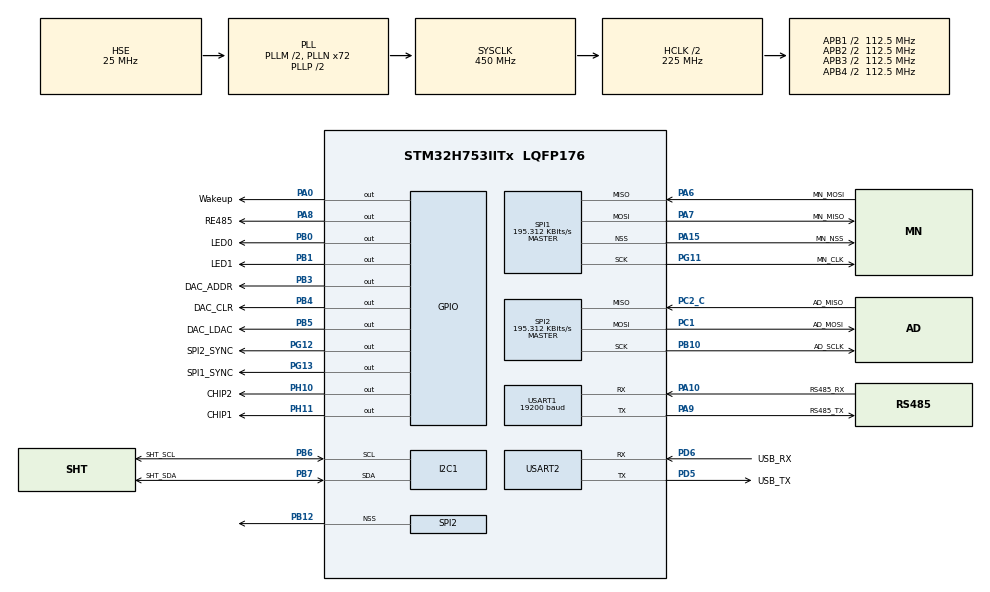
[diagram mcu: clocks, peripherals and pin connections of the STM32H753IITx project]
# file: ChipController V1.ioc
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CORTEX_M7.CPU_ICache=Disabled
CORTEX_M7.MPU_Control=__NULL
CORTEX_M7.default_mode_Activation=1
I2C1.Timing=0x209093DD
Mcu.Family=STM32H7
Mcu.Name=STM32H753IITx
Mcu.Package=LQFP176
NVIC.PriorityGroup=NVIC_PRIORITYGROUP_4
NVIC.TIM3_IRQn=true\:0\:0\:false\:false\:true\:true\:true\:true
NVIC.USART2_IRQn=true\:0\:0\:false\:false\:true\:true\:true\:true
PA0.GPIO_Label=Wakeup
PA0.Signal=GPIO_Output
PA10.GPIO_Label=RS485_RX
PA10.Mode=Asynchronous
PA10.Signal=USART1_RX
PA13\ (JTMS/SWDIO).Mode=Serial_Wire
PA13\ (JTMS/SWDIO).Signal=DEBUG_JTMS-SWDIO
PA14\ (JTCK/SWCLK).Mode=Serial_Wire
PA14\ (JTCK/SWCLK).Signal=DEBUG_JTCK-SWCLK
PA15\ (JTDI).GPIO_Label=MN_NSS
PA15\ (JTDI).Mode=NSS_Signal_Hard_Output
PA15\ (JTDI).Signal=SPI1_NSS
PA6.GPIO_Label=MN_MOSI
PA6.Mode=Full_Duplex_Master
PA6.Signal=SPI1_MISO
PA7.GPIO_Label=MN_MISO
PA7.Mode=Full_Duplex_Master
PA7.Signal=SPI1_MOSI
PA8.GPIO_Label=RE485
PA8.Signal=GPIO_Output
PA9.GPIO_Label=RS485_TX
PA9.Mode=Asynchronous
PA9.Signal=USART1_TX
PB0.GPIO_Label=LED0
PB0.Signal=GPIO_Output
PB1.GPIO_Label=LED1
PB1.Signal=GPIO_Output
PB10.GPIO_Label=AD_SCLK
PB10.Mode=Full_Duplex_Master
PB10.Signal=SPI2_SCK
PB12.Mode=NSS_Signal_Hard_Output
PB12.Signal=SPI2_NSS
PB3\ (JTDO/TRACESWO).GPIO_Label=DAC_ADDR
PB3\ (JTDO/TRACESWO).Signal=GPIO_Output
PB4\ (NJTRST).GPIO_Label=DAC_CLR
PB4\ (NJTRST).Signal=GPIO_Output
PB5.GPIO_Label=DAC_LDAC
PB5.Signal=GPIO_Output
PB6.GPIO_Label=SHT_SCL
PB6.Mode=I2C
PB6.Signal=I2C1_SCL
PB7.GPIO_Label=SHT_SDA
PB7.Mode=I2C
PB7.Signal=I2C1_SDA
PC1.GPIO_Label=AD_MOSI
PC1.Mode=Full_Duplex_Master
PC1.Signal=SPI2_MOSI
PC14-OSC32_IN\ (OSC32_IN).Mode=LSE-External-Oscillator
PC14-OSC32_IN\ (OSC32_IN).Signal=RCC_OSC32_IN
PC15-OSC32_OUT\ (OSC32_OUT).Mode=LSE-External-Oscillator
PC15-OSC32_OUT\ (OSC32_OUT).Signal=RCC_OSC32_OUT
PC2_C.GPIO_Label=AD_MISO
PC2_C.Mode=Full_Duplex_Master
PC2_C.Signal=SPI2_MISO
PD5.GPIO_Label=USB_TX
PD5.Mode=Asynchronous
PD5.Signal=USART2_TX
PD6.GPIO_Label=USB_RX
PD6.Mode=Asynchronous
PD6.Signal=USART2_RX
PG11.GPIO_Label=MN_CLK
PG11.Mode=Full_Duplex_Master
PG11.Signal=SPI1_SCK
PG12.GPIO_Label=SPI2_SYNC
PG12.Signal=GPIO_Output
PG13.GPIO_Label=SPI1_SYNC
PG13.Signal=GPIO_Output
PH0-OSC_IN\ (PH0).Mode=HSE-External-Oscillator
PH0-OSC_IN\ (PH0).Signal=RCC_OSC_IN
PH1-OSC_OUT\ (PH1).Mode=HSE-External-Oscillator
PH1-OSC_OUT\ (PH1).Signal=RCC_OSC_OUT
PH10.GPIO_Label=CHIP2
PH10.Signal=GPIO_Output
PH11.GPIO_Label=CHIP1
PH11.Signal=GPIO_Output
ProjectManager.HeapSize=0x200
ProjectManager.StackSize=0x400
ProjectManager.TargetToolchain=STM32CubeIDE
RCC.ADCFreq_Value=75000000
RCC.APB1Freq_Value=112500000
RCC.APB2Freq_Value=112500000
RCC.APB3Freq_Value=112500000
RCC.APB4Freq_Value=112500000
RCC.CortexFreq_Value=450000000
RCC.D1PPRE=RCC_APB3_DIV2
RCC.D2PPRE1=RCC_APB1_DIV2
RCC.D2PPRE2=RCC_APB2_DIV2
RCC.D3PPRE=RCC_APB4_DIV2
RCC.DIVM1=2
RCC.DIVM2=2
RCC.DIVM3=2
RCC.DIVN1=72
RCC.DIVN2=12
RCC.DIVN3=12
RCC.DIVQ1=18
RCC.DIVQ3=6
RCC.FLatency-AdvancedSettings=FLASH_LATENCY_0
RCC.HCLKFreq_Value=225000000
RCC.HPRE=RCC_HCLK_DIV2
RCC.PLL2FRACN=0
RCC.PLL2_VCO_SEL-AdvancedSettings=RCC_PLL2VCOWIDE
RCC.PLL3FRACN=0
RCC.PLLFRACN=0
RCC.PLLSourceVirtual=RCC_PLLSOURCE_HSE
RCC.SYSCLKFreq_VALUE=450000000
RCC.SYSCLKSource=RCC_SYSCLKSOURCE_PLLCLK
RCC.USBFreq_Value=50000000
SPI1.BaudRatePrescaler=SPI_BAUDRATEPRESCALER_256
SPI1.CLKPhase=SPI_PHASE_2EDGE
SPI1.CLKPolarity=SPI_POLARITY_HIGH
SPI1.CalculateBaudRate=195.312 KBits/s
SPI1.DataSize=SPI_DATASIZE_8BIT
SPI1.Direction=SPI_DIRECTION_2LINES
SPI1.Mode=SPI_MODE_MASTER
SPI1.VirtualNSS=VM_NSSHARD
SPI1.VirtualType=VM_MASTER
SPI2.BaudRatePrescaler=SPI_BAUDRATEPRESCALER_256
SPI2.CLKPhase=SPI_PHASE_2EDGE
SPI2.CLKPolarity=SPI_POLARITY_HIGH
SPI2.CalculateBaudRate=195.312 KBits/s
SPI2.DataSize=SPI_DATASIZE_8BIT
SPI2.Direction=SPI_DIRECTION_2LINES
SPI2.Mode=SPI_MODE_MASTER
SPI2.VirtualNSS=VM_NSSHARD
SPI2.VirtualType=VM_MASTER
TIM1.AutoReloadPreload=TIM_AUTORELOAD_PRELOAD_DISABLE
TIM1.Period=499
TIM1.Prescaler=9
TIM3.Period=4999
TIM3.Prescaler=44999
USART1.BaudRate=19200
USART1.Parity=PARITY_NONE
USART1.VirtualMode-Asynchronous=VM_ASYNC
USART2.VirtualMode-Asynchronous=VM_ASYNC
VP_MEMORYMAP_VS_MEMORYMAP.Mode=CurAppReg
VP_TIM1_VS_ClockSourceINT.Mode=Internal
VP_TIM3_VS_ClockSourceINT.Mode=Internal
board=custom

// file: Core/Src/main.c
/* USER CODE BEGIN Header */
/**
  ******************************************************************************
  * @file           : main.c
  * @brief          : Main program body
  ******************************************************************************
  * @attention
  *
  * Copyright (c) 2026 STMicroelectronics.
  * All rights reserved.
  *
  * This software is licensed under terms that can be found in the LICENSE file
  * in the root directory of this software component.
  * If no LICENSE file comes with this software, it is provided AS-IS.
  *
  ******************************************************************************
  */
/* USER CODE END Header */
#include "main.h"

/* USER CODE BEGIN Includes */
#include "board_uart.h"
#include "board_output.h"
#include "chip_measure.h"
#include "chip_temperature.h"
#include "thermal_control.h"
#include <string.h>

/* USER CODE END Includes */

/* USER CODE BEGIN PD */
#define APP_DEBUG_LINE_SIZE 64u
#define APP_ADC_SAMPLE_DEFAULT_COUNT 10u
#define APP_ADC_SAMPLE_MAX_COUNT 100u

/* Minimum current for a valid resistance (and thus temperature) reading.
 * Mirrors THERMAL_CONTROL_MIN_RESISTANCE_CURRENT / CHIP_MEASURE_MIN_CURRENT_A. */
#define APP_TEMP_MIN_CURRENT_A         0.000001f

/* USER CODE END PD */

I2C_HandleTypeDef hi2c1;

SPI_HandleTypeDef hspi1;
SPI_HandleTypeDef hspi2;

TIM_HandleTypeDef htim1;
TIM_HandleTypeDef htim3;

UART_HandleTypeDef huart1;
UART_HandleTypeDef huart2;

/* USER CODE BEGIN PV */

static ChipMeasure_SyncFilter s_adc_filter;

/* USER CODE END PV */

void SystemClock_Config(void);
static void MX_GPIO_Init(void);
static void MX_USART1_UART_Init(void);
static void MX_USART2_UART_Init(void);
static void MX_SPI1_Init(void);
static void MX_SPI2_Init(void);
static void MX_TIM1_Init(void);
static void MX_I2C1_Init(void);
static void MX_TIM3_Init(void);
/* USER CODE BEGIN PFP */
static void App_ProcessDebugLine(const char *line);
static void App_PrintHelp(void);
static void App_PrintTemperature(void);
static void App_PrintThermalControl(void);
static void App_PrintAdcSamples(uint32_t count);
static void App_PrintAdcFilteredSamples(uint32_t count);

static uint8_t App_ParseFloat(const char *text, float *value);
static uint8_t App_ParseUint32(const char *text, uint32_t *value);
static int32_t App_FloatToMilli(float value);
static int32_t App_FloatToMicro(float value);

/* USER CODE END PFP */

/* USER CODE BEGIN 0 */
static const char *App_ChipMeasureStatusText(ChipMeasure_Status status)
{
  switch (status)
  {
    case CHIP_MEASURE_OK:
      return "OK";
    case CHIP_MEASURE_ERROR:
      return "ERROR";
    case CHIP_MEASURE_TIMEOUT:
      return "TIMEOUT";
    case CHIP_MEASURE_BAD_ID:
      return "BAD_ID";
    case CHIP_MEASURE_INVALID_PARAM:
      return "INVALID_PARAM";
    case CHIP_MEASURE_NO_CURRENT:
      return "NO_CURRENT";
    case CHIP_MEASURE_SATURATED:
      return "SATURATED";
    default:
      return "UNKNOWN";
  }
}

static void App_ProcessDebugLine(const char *line)
{
  if ((line == NULL) || (line[0] == '\0'))
  {
    return;
  }

  if ((strcmp(line, "help") == 0) || (strcmp(line, "?") == 0))
  {
    App_PrintHelp();
  }
  else if (strcmp(line, "id") == 0)
  {
    uint8_t current_adc_id = 0u;
    uint8_t voltage_adc_id = 0u;
    ChipMeasure_Status status = ChipMeasure_ReadAdcIds(&current_adc_id, &voltage_adc_id);

    BoardUart_Printf(BOARD_UART_PORT_DEBUG,
                     "AD7190 IDs: current=0x%02X voltage=0x%02X status=%s (%d)\r\n",
                     current_adc_id,
                     voltage_adc_id,
                     App_ChipMeasureStatusText(status),
                     (int)status);
  }
  else if (strcmp(line, "zero") == 0)
  {
    ThermalControl_Status control_status = ThermalControl_Stop();
    BoardOutput_Status status = BoardOutput_SetZero();
    BoardUart_Printf(BOARD_UART_PORT_DEBUG,
                     "Output zero: %s (%d), control=%s\r\n",
                     BoardOutput_StatusText(status),
                     (int)status,
                     ThermalControl_StatusText(control_status));
    App_ResetAdcFilter();
  }
  else if (strcmp(line, "r42test") == 0)
  {
    BoardOutput_R42SelfTestResult result;
    BoardOutput_Status status;

    (void)ThermalControl_Stop();
    BoardUart_WriteString(BOARD_UART_PORT_DEBUG, "R42 self-test running...\r\n", 100u);
    status = BoardOutput_RunR42SelfTest(&result);

    BoardUart_Printf(BOARD_UART_PORT_DEBUG,
                     "R42 self-test: %s (%d), pass=%u\r\n",
                     BoardOutput_StatusText(status),
                     (int)status,
                     result.passed);
    BoardUart_Printf(BOARD_UART_PORT_DEBUG,
                     "drive=%ld mV, Isense=%ld uV, I=%ld uA\r\n",
                     (long)App_FloatToMilli(result.applied_drive_v),
                     (long)App_FloatToMilli(result.current_sense_v * 1000.0f),
                     (long)App_FloatToMilli(result.current_a * 1000.0f));
    BoardUart_Printf(BOARD_UART_PORT_DEBUG,
                     "Vraw=%ld mV, Vload=%ld mV, R=%ld mOhm\r\n",
                     (long)App_FloatToMilli(result.load_voltage_raw_v),
                     (long)App_FloatToMilli(result.load_voltage_v),
                     (long)App_FloatToMilli(result.resistance_ohm));
    App_ResetAdcFilter();
  }
  else if (strcmp(line, "temp") == 0)
  {
    App_PrintTemperature();
  }
  else if (strcmp(line, "adcs") == 0)
  {
    App_PrintAdcSamples(APP_ADC_SAMPLE_DEFAULT_COUNT);
  }
  else if (strncmp(line, "adcs ", 5u) == 0)
  {
    uint32_t count = 0u;

    if ((App_ParseUint32(&line[5], &count) == 0u) ||
        (count == 0u) ||
        (count > APP_ADC_SAMPLE_MAX_COUNT))
    {
      BoardUart_Printf(BOARD_UART_PORT_DEBUG,
                       "Bad argument. Usage: adcs <1-%lu>\r\n",
                       (unsigned long)APP_ADC_SAMPLE_MAX_COUNT);
      return;
    }

    App_PrintAdcSamples(count);
  }
  else if (strcmp(line, "adcf") == 0)
  {
    App_PrintAdcFilteredSamples(APP_ADC_SAMPLE_DEFAULT_COUNT);
  }
  else if (strncmp(line, "adcf ", 5u) == 0)
  {
    uint32_t count = 0u;

    if ((App_ParseUint32(&line[5], &count) == 0u) ||
        (count == 0u) ||
        (count > APP_ADC_SAMPLE_MAX_COUNT))
    {
      BoardUart_Printf(BOARD_UART_PORT_DEBUG,
                       "Bad argument. Usage: adcf <1-%lu>\r\n",
                       (unsigned long)APP_ADC_SAMPLE_MAX_COUNT);
      return;
    }

    App_PrintAdcFilteredSamples(count);
  }

  else if (strcmp(line, "tc status") == 0)
  {
    App_PrintThermalControl();
  }
  else if (strcmp(line, "tc stop") == 0)
  {
    ThermalControl_Status status = ThermalControl_Stop();

    BoardUart_Printf(BOARD_UART_PORT_DEBUG,
                     "ThermalControl stop: %s (%d)\r\n",
                     ThermalControl_StatusText(status),
                     (int)status);
    App_ResetAdcFilter();
    App_PrintThermalControl();
  }
  else if (strncmp(line, "tc current ", 11u) == 0)
  {
    float target_ma = 0.0f;

    if (App_ParseFloat(&line[11], &target_ma) == 0u)
    {
      BoardUart_WriteString(BOARD_UART_PORT_DEBUG, "Bad argument. Usage: tc current <mA>\r\n", 100u);
      return;
    }

    ThermalControl_Status status = ThermalControl_SetTargetCurrent(target_ma / 1000.0f);
    BoardUart_Printf(BOARD_UART_PORT_DEBUG,
                     "ThermalControl current target: %ld uA, status=%s (%d)\r\n",
                     (long)App_FloatToMilli(target_ma),
                     ThermalControl_StatusText(status),
                     (int)status);
    App_ResetAdcFilter();
  }
  else if (strncmp(line, "tc temp ", 8u) == 0)
  {
    float target_c = 0.0f;

    if (App_ParseFloat(&line[8], &target_c) == 0u)
    {
      BoardUart_WriteString(BOARD_UART_PORT_DEBUG, "Bad argument. Usage: tc temp <degC>\r\n", 100u);
      return;
    }

    ThermalControl_Status status = ThermalControl_SetTargetTemperature(target_c);
    BoardUart_Printf(BOARD_UART_PORT_DEBUG,
                     "ThermalControl temperature target: %ld mC, status=%s (%d)\r\n",
                     (long)App_FloatToMilli(target_c),
                     ThermalControl_StatusText(status),
                     (int)status);
    App_ResetAdcFilter();
  }
  else
  {
    BoardUart_Printf(BOARD_UART_PORT_DEBUG, "Unknown command: %s\r\n", line);
    App_PrintHelp();
  }
}

static void App_PrintHelp(void)
{
  BoardUart_WriteString(BOARD_UART_PORT_DEBUG,
                        "Commands:\r\n"
                        "  help     - show this help\r\n"
                        "  id       - read AD7190 IDs\r\n"
                        "  zero     - force DAC outputs to 0V\r\n"
                        "  r42test  - run safe internal 30-ohm self-test\r\n"
                        "  temp     - read chip temperature (from resistance)\r\n"
                        "  adcs <n> - read synchronized AD7190 samples\r\n"
                        "  adcf <n> - read filtered AD7190 samples\r\n"

                        "  tc status      - show control loop state\r\n"
                        "  tc stop        - stop control and zero output\r\n"
                        "  tc current <mA> - start current loop\r\n"
                        "  tc temp <degC>  - start temperature loop\r\n",
                        100u);
}

static void App_PrintTemperature(void)
{
  ChipMeasure_SyncSample sample;
  ChipMeasure_Status status;
  float current_abs_a;
  float voltage_abs_v;
  float resistance_ohm;
  float temperature_c;
  int32_t temperature_mC;

  status = ChipMeasure_ReadSynchronizedFiltered(CHIP_MEASURE_PATH_EXTERNAL,
                                                &s_adc_filter,
                                                &sample);
  if (status != CHIP_MEASURE_OK)
  {
    BoardUart_Printf(BOARD_UART_PORT_DEBUG,
                     "Temperature: chip_status=%s\r\n",
                     App_ChipMeasureStatusText(status));
    return;
  }

  current_abs_a = (sample.current_a < 0.0f) ? -sample.current_a : sample.current_a;
  voltage_abs_v = (sample.load_voltage_v < 0.0f) ? -sample.load_voltage_v : sample.load_voltage_v;

  if (current_abs_a < APP_TEMP_MIN_CURRENT_A)
  {
    BoardUart_WriteString(BOARD_UART_PORT_DEBUG,
                          "Temperature: chip_status=NO_CURRENT\r\n",
                          100u);
    return;
  }

  if (ChipMeasure_ComputeExternalResistance(voltage_abs_v, current_abs_a, &resistance_ohm) == 0u)
  {
    BoardUart_WriteString(BOARD_UART_PORT_DEBUG,
                          "Temperature: chip_status=NO_CURRENT\r\n",
                          100u);
    return;
  }

  temperature_c = ChipTemperature_FromResistance(resistance_ohm);
  temperature_mC = App_FloatToMilli(temperature_c);

  BoardUart_Printf(BOARD_UART_PORT_DEBUG,
                   "Temperature: chip_mC=%ld\r\n",
                   (long)temperature_mC);
}

static void App_PrintThermalControl(void)
{
  ThermalControl_Snapshot snapshot;

  ThermalControl_GetSnapshot(&snapshot);
  BoardUart_Printf(BOARD_UART_PORT_DEBUG,
                   "TC: mode=%s enabled=%u fault=%u status=%s (%d)\r\n",
                   ThermalControl_ModeText(snapshot.mode),
                   snapshot.enabled,
                   snapshot.faulted,
                   ThermalControl_StatusText(snapshot.status),
                   (int)snapshot.status);
  BoardUart_Printf(BOARD_UART_PORT_DEBUG,
                   "TC target: temp=%ld mC error=%ld mC current=%ld uA integral=%ld uA drive=%ld mV\r\n",
                   (long)App_FloatToMilli(snapshot.target_temperature_c),
                   (long)App_FloatToMilli(snapshot.temperature_error_c),
                   (long)App_FloatToMilli(snapshot.target_current_a * 1000.0f),
                   (long)App_FloatToMilli(snapshot.temperature_integral_a * 1000.0f),
                   (long)App_FloatToMilli(snapshot.drive_voltage_v));
  BoardUart_Printf(BOARD_UART_PORT_DEBUG,
                   "TC measured: temp=%ld mC current=%ld uA voltage=%ld mV power=%ld uW R=%ld mOhm\r\n",
                   (long)App_FloatToMilli(snapshot.measured_temperature_c),
                   (long)App_FloatToMilli(snapshot.measured_current_a * 1000.0f),
                   (long)App_FloatToMilli(snapshot.load_voltage_v),
                   (long)App_FloatToMilli(snapshot.power_w * 1000.0f),
                   (long)App_FloatToMilli(snapshot.resistance_ohm));
}

static void App_PrintAdcSamples(uint32_t count)
{
  uint32_t index;

  BoardUart_Printf(BOARD_UART_PORT_DEBUG, "AD7190 sync samples: count=%lu\r\n", (unsigned long)count);

  for (index = 0u; index < count; index++)
  {
    ChipMeasure_SyncSample sample;
    ChipMeasure_Status status;
    float current_abs_a;
    float voltage_abs_v;
    float resistance_ohm;

    status = ChipMeasure_ReadSynchronized(CHIP_MEASURE_PATH_EXTERNAL, &sample);
    if (status != CHIP_MEASURE_OK)
    {
      BoardUart_Printf(BOARD_UART_PORT_DEBUG,
                       "adc %lu: status=%s (%d)\r\n",
                       (unsigned long)(index + 1u),
                       App_ChipMeasureStatusText(status),
                       (int)status);
      return;
    }

    current_abs_a = (sample.current_a < 0.0f) ? -sample.current_a : sample.current_a;
    voltage_abs_v = (sample.load_voltage_v < 0.0f) ? -sample.load_voltage_v : sample.load_voltage_v;
    (void)ChipMeasure_ComputeExternalResistance(voltage_abs_v, current_abs_a, &resistance_ohm);

    BoardUart_Printf(BOARD_UART_PORT_DEBUG,
                     "adc %lu: I=%ld nA V=%ld uV R=%ld mOhm\r\n",
                     (unsigned long)(index + 1u),
                     (long)App_FloatToMilli(sample.current_a * 1000000.0f),
                     (long)App_FloatToMilli(sample.load_voltage_v * 1000.0f),
                     (long)App_FloatToMilli(resistance_ohm));
  }
}

static void App_PrintAdcFilteredSamples(uint32_t count)
{
  uint32_t index;

  BoardUart_Printf(BOARD_UART_PORT_DEBUG,
                   "AD7190 filtered samples: count=%lu alpha=%ld mpermil\r\n",
                   (unsigned long)count,
                   (long)App_FloatToMilli(CHIP_MEASURE_DISPLAY_FILTER_ALPHA));

  for (index = 0u; index < count; index++)
  {
    ChipMeasure_SyncSample sample;
    ChipMeasure_Status status;
    float current_abs_a;
    float voltage_abs_v;
    float resistance_ohm;

    status = ChipMeasure_ReadSynchronizedFiltered(CHIP_MEASURE_PATH_EXTERNAL,
                                                  &s_adc_filter,
                                                  &sample);
    if (status != CHIP_MEASURE_OK)
    {
      BoardUart_Printf(BOARD_UART_PORT_DEBUG,
                       "adcf: sample=%lu status=%s (%d)\r\n",
                       (unsigned long)(index + 1u),
                       App_ChipMeasureStatusText(status),
                       (int)status);
      return;
    }

    current_abs_a = (sample.current_a < 0.0f) ? -sample.current_a : sample.current_a;
    voltage_abs_v = (sample.load_voltage_v < 0.0f) ? -sample.load_voltage_v : sample.load_voltage_v;
    (void)ChipMeasure_ComputeExternalResistance(voltage_abs_v, current_abs_a, &resistance_ohm);

    BoardUart_Printf(BOARD_UART_PORT_DEBUG,
                     "adcf %lu: I=%ld nA V=%ld uV R=%ld uOhm status current=0x%02X voltage=0x%02X\r\n",
                     (unsigned long)(index + 1u),
                     (long)App_FloatToMilli(sample.current_a * 1000000.0f),
                     (long)App_FloatToMilli(sample.load_voltage_v * 1000.0f),
                     (long)App_FloatToMicro(resistance_ohm),
                     sample.current_adc_status,
                     sample.voltage_adc_status);
  }
}

static uint8_t App_ParseFloat(const char *text, float *value)
{
  float result = 0.0f;
  float scale = 0.1f;
  float sign = 1.0f;
  uint8_t saw_digit = 0u;

  if ((text == NULL) || (value == NULL))
  {
    return 0u;
  }

  while (*text == ' ')
  {
    text++;
  }

  if (*text == '-')
  {
    sign = -1.0f;
    text++;
  }
  else if (*text == '+')
  {
    text++;
  }

  while ((*text >= '0') && (*text <= '9'))
  {
    saw_digit = 1u;
    result = (result * 10.0f) + (float)(*text - '0');
    text++;
  }

  if (*text == '.')
  {
    text++;
    while ((*text >= '0') && (*text <= '9'))
    {
      saw_digit = 1u;
      result += (float)(*text - '0') * scale;
      scale *= 0.1f;
      text++;
    }
  }

  while (*text == ' ')
  {
    text++;
  }

  if ((*text != '\0') || (saw_digit == 0u))
  {
    return 0u;
  }

  *value = result * sign;
  return 1u;
}

static uint8_t App_ParseUint32(const char *text, uint32_t *value)
{
  uint32_t result = 0u;
  uint8_t saw_digit = 0u;

  if ((text == NULL) || (value == NULL))
  {
    return 0u;
  }

  while (*text == ' ')
  {
    text++;
  }

  while ((*text >= '0') && (*text <= '9'))
  {
    saw_digit = 1u;
    result = (result * 10u) + (uint32_t)(*text - '0');
    text++;
  }

  while (*text == ' ')
  {
    text++;
  }

  if ((*text != '\0') || (saw_digit == 0u))
  {
    return 0u;
  }

  *value = result;
  return 1u;
}

static int32_t App_FloatToMilli(float value)
{
  if (value >= 0.0f)
  {
    return (int32_t)((value * 1000.0f) + 0.5f);
  }

  return (int32_t)((value * 1000.0f) - 0.5f);
}

static int32_t App_FloatToMicro(float value)
{
  if (value >= 0.0f)
  {
    return (int32_t)((value * 1000000.0f) + 0.5f);
  }

  return (int32_t)((value * 1000000.0f) - 0.5f);
}

/* USER CODE END 0 */

int main(void)
{

  /* MCU Configuration--------------------------------------------------------*/

  /* Reset of all peripherals, Initializes the Flash interface and the Systick. */
  HAL_Init();

  /* Configure the system clock */
  SystemClock_Config();

  /* Initialize all configured peripherals */
  MX_GPIO_Init();
  MX_USART1_UART_Init();
  MX_USART2_UART_Init();
  MX_SPI1_Init();
  MX_SPI2_Init();
  MX_TIM1_Init();
  MX_I2C1_Init();
  MX_TIM3_Init();
  /* USER CODE BEGIN 2 */
  BoardUart_Init(&huart2, &huart1);
  BoardUart_WriteString(BOARD_UART_PORT_DEBUG, "\r\nChipController boot\r\n", 100u);

  BoardOutput_Status output_status = BoardOutput_Init();
  BoardUart_Printf(BOARD_UART_PORT_DEBUG,
                   "BoardOutput_Init: %s (%d)\r\n",
                   BoardOutput_StatusText(output_status),
                   (int)output_status);

  ChipMeasure_Status measure_status = ChipMeasure_Init();
  BoardUart_Printf(BOARD_UART_PORT_DEBUG,
                   "ChipMeasure_Init: %s (%d)\r\n",
                   App_ChipMeasureStatusText(measure_status),
                   (int)measure_status);

  if (measure_status == CHIP_MEASURE_OK)
  {
    uint8_t current_adc_id = 0u;
    uint8_t voltage_adc_id = 0u;

    measure_status = ChipMeasure_ReadAdcIds(&current_adc_id, &voltage_adc_id);
    BoardUart_Printf(BOARD_UART_PORT_DEBUG,
                     "AD7190 IDs: current=0x%02X voltage=0x%02X status=%s (%d)\r\n",
                     current_adc_id,
                     voltage_adc_id,
                     App_ChipMeasureStatusText(measure_status),
                     (int)measure_status);
  }

  ThermalControl_Status control_status = ThermalControl_Init();
  BoardUart_Printf(BOARD_UART_PORT_DEBUG,
                   "ThermalControl_Init: %s (%d)\r\n",
                   ThermalControl_StatusText(control_status),
                   (int)control_status);

  App_PrintHelp();

  /* USER CODE END 2 */

  /* Infinite loop */
  while (1)
  {

    /* USER CODE BEGIN 3 */
    static char debug_line[APP_DEBUG_LINE_SIZE];
    static uint8_t debug_line_len = 0u;
    uint8_t byte = 0u;

    if (BoardUart_Read(BOARD_UART_PORT_DEBUG, &byte, 1u, 0u) == BOARD_UART_OK)
    {
      if ((byte == '\r') || (byte == '\n'))
      {
        if (debug_line_len > 0u)
        {
          debug_line[debug_line_len] = '\0';
          BoardUart_WriteString(BOARD_UART_PORT_DEBUG, "\r\n", 100u);
          App_ProcessDebugLine(debug_line);
          debug_line_len = 0u;
        }
      }
      else if ((byte == '\b') || (byte == 0x7Fu))
      {
        if (debug_line_len > 0u)
        {
          debug_line_len--;
          BoardUart_WriteString(BOARD_UART_PORT_DEBUG, "\b \b", 100u);
        }
      }
      else if (debug_line_len < (APP_DEBUG_LINE_SIZE - 1u))
      {
        debug_line[debug_line_len] = (char)byte;
        debug_line_len++;
        BoardUart_Write(BOARD_UART_PORT_DEBUG, &byte, 1u, 100u);
      }
    }

    (void)ThermalControl_Service(HAL_GetTick());
  }
  /* USER CODE END 3 */
}

void SystemClock_Config(void)
{
  RCC_OscInitTypeDef RCC_OscInitStruct = {0};
  RCC_ClkInitTypeDef RCC_ClkInitStruct = {0};

  /** Supply configuration update enable
  */
  HAL_PWREx_ConfigSupply(PWR_LDO_SUPPLY);

  /** Configure the main internal regulator output voltage
  */
  __HAL_PWR_VOLTAGESCALING_CONFIG(PWR_REGULATOR_VOLTAGE_SCALE0);

  while(!__HAL_PWR_GET_FLAG(PWR_FLAG_VOSRDY)) {}

  /** Initializes the RCC Oscillators according to the specified parameters
  * in the RCC_OscInitTypeDef structure.
  */
  RCC_OscInitStruct.OscillatorType = RCC_OSCILLATORTYPE_HSE;
  RCC_OscInitStruct.HSEState = RCC_HSE_ON;
  RCC_OscInitStruct.PLL.PLLState = RCC_PLL_ON;
  RCC_OscInitStruct.PLL.PLLSource = RCC_PLLSOURCE_HSE;
  RCC_OscInitStruct.PLL.PLLM = 2;
  RCC_OscInitStruct.PLL.PLLN = 72;
  RCC_OscInitStruct.PLL.PLLP = 2;
  RCC_OscInitStruct.PLL.PLLQ = 18;
  RCC_OscInitStruct.PLL.PLLR = 2;
  RCC_OscInitStruct.PLL.PLLRGE = RCC_PLL1VCIRANGE_3;
  RCC_OscInitStruct.PLL.PLLVCOSEL = RCC_PLL1VCOWIDE;
  RCC_OscInitStruct.PLL.PLLFRACN = 0;
  if (HAL_RCC_OscConfig(&RCC_OscInitStruct) != HAL_OK)
  {
    Error_Handler();
  }

  /** Initializes the CPU, AHB and APB buses clocks
  */
  RCC_ClkInitStruct.ClockType = RCC_CLOCKTYPE_HCLK|RCC_CLOCKTYPE_SYSCLK
                              |RCC_CLOCKTYPE_PCLK1|RCC_CLOCKTYPE_PCLK2
                              |RCC_CLOCKTYPE_D3PCLK1|RCC_CLOCKTYPE_D1PCLK1;
  RCC_ClkInitStruct.SYSCLKSource = RCC_SYSCLKSOURCE_PLLCLK;
  RCC_ClkInitStruct.SYSCLKDivider = RCC_SYSCLK_DIV1;
  RCC_ClkInitStruct.AHBCLKDivider = RCC_HCLK_DIV2;
  RCC_ClkInitStruct.APB3CLKDivider = RCC_APB3_DIV2;
  RCC_ClkInitStruct.APB1CLKDivider = RCC_APB1_DIV2;
  RCC_ClkInitStruct.APB2CLKDivider = RCC_APB2_DIV2;
  RCC_ClkInitStruct.APB4CLKDivider = RCC_APB4_DIV2;

  if (HAL_RCC_ClockConfig(&RCC_ClkInitStruct, FLASH_LATENCY_3) != HAL_OK)
  {
    Error_Handler();
  }
}

static void MX_I2C1_Init(void)
{

  hi2c1.Instance = I2C1;
  hi2c1.Init.Timing = 0x209093DD;
  hi2c1.Init.OwnAddress1 = 0;
  hi2c1.Init.AddressingMode = I2C_ADDRESSINGMODE_7BIT;
  hi2c1.Init.DualAddressMode = I2C_DUALADDRESS_DISABLE;
  hi2c1.Init.OwnAddress2 = 0;
  hi2c1.Init.OwnAddress2Masks = I2C_OA2_NOMASK;
  hi2c1.Init.GeneralCallMode = I2C_GENERALCALL_DISABLE;
  hi2c1.Init.NoStretchMode = I2C_NOSTRETCH_DISABLE;
  if (HAL_I2C_Init(&hi2c1) != HAL_OK)
  {
    Error_Handler();
  }

  /** Configure Analogue filter
  */
  if (HAL_I2CEx_ConfigAnalogFilter(&hi2c1, I2C_ANALOGFILTER_ENABLE) != HAL_OK)
  {
    Error_Handler();
  }

  /** Configure Digital filter
  */
  if (HAL_I2CEx_ConfigDigitalFilter(&hi2c1, 0) != HAL_OK)
  {
    Error_Handler();
  }

}

static void MX_SPI1_Init(void)
{

  /* SPI1 parameter configuration*/
  hspi1.Instance = SPI1;
  hspi1.Init.Mode = SPI_MODE_MASTER;
  hspi1.Init.Direction = SPI_DIRECTION_2LINES;
  hspi1.Init.DataSize = SPI_DATASIZE_8BIT;
  hspi1.Init.CLKPolarity = SPI_POLARITY_HIGH;
  hspi1.Init.CLKPhase = SPI_PHASE_2EDGE;
  hspi1.Init.NSS = SPI_NSS_HARD_OUTPUT;
  hspi1.Init.BaudRatePrescaler = SPI_BAUDRATEPRESCALER_256;
  hspi1.Init.FirstBit = SPI_FIRSTBIT_MSB;
  hspi1.Init.TIMode = SPI_TIMODE_DISABLE;
  hspi1.Init.CRCCalculation = SPI_CRCCALCULATION_DISABLE;
  hspi1.Init.CRCPolynomial = 0x0;
  hspi1.Init.NSSPMode = SPI_NSS_PULSE_DISABLE;
  hspi1.Init.NSSPolarity = SPI_NSS_POLARITY_LOW;
  hspi1.Init.FifoThreshold = SPI_FIFO_THRESHOLD_01DATA;
  hspi1.Init.TxCRCInitializationPattern = SPI_CRC_INITIALIZATION_ALL_ZERO_PATTERN;
  hspi1.Init.RxCRCInitializationPattern = SPI_CRC_INITIALIZATION_ALL_ZERO_PATTERN;
  hspi1.Init.MasterSSIdleness = SPI_MASTER_SS_IDLENESS_00CYCLE;
  hspi1.Init.MasterInterDataIdleness = SPI_MASTER_INTERDATA_IDLENESS_00CYCLE;
  hspi1.Init.MasterReceiverAutoSusp = SPI_MASTER_RX_AUTOSUSP_DISABLE;
  hspi1.Init.MasterKeepIOState = SPI_MASTER_KEEP_IO_STATE_DISABLE;
  hspi1.Init.IOSwap = SPI_IO_SWAP_DISABLE;
  if (HAL_SPI_Init(&hspi1) != HAL_OK)
  {
    Error_Handler();
  }

}

static void MX_SPI2_Init(void)
{

  /* SPI2 parameter configuration*/
  hspi2.Instance = SPI2;
  hspi2.Init.Mode = SPI_MODE_MASTER;
  hspi2.Init.Direction = SPI_DIRECTION_2LINES;
  hspi2.Init.DataSize = SPI_DATASIZE_8BIT;
  hspi2.Init.CLKPolarity = SPI_POLARITY_HIGH;
  hspi2.Init.CLKPhase = SPI_PHASE_2EDGE;
  hspi2.Init.NSS = SPI_NSS_HARD_OUTPUT;
  hspi2.Init.BaudRatePrescaler = SPI_BAUDRATEPRESCALER_256;
  hspi2.Init.FirstBit = SPI_FIRSTBIT_MSB;
  hspi2.Init.TIMode = SPI_TIMODE_DISABLE;
  hspi2.Init.CRCCalculation = SPI_CRCCALCULATION_DISABLE;
  hspi2.Init.CRCPolynomial = 0x0;
  hspi2.Init.NSSPMode = SPI_NSS_PULSE_DISABLE;
  hspi2.Init.NSSPolarity = SPI_NSS_POLARITY_LOW;
  hspi2.Init.FifoThreshold = SPI_FIFO_THRESHOLD_01DATA;
  hspi2.Init.TxCRCInitializationPattern = SPI_CRC_INITIALIZATION_ALL_ZERO_PATTERN;
  hspi2.Init.RxCRCInitializationPattern = SPI_CRC_INITIALIZATION_ALL_ZERO_PATTERN;
  hspi2.Init.MasterSSIdleness = SPI_MASTER_SS_IDLENESS_00CYCLE;
  hspi2.Init.MasterInterDataIdleness = SPI_MASTER_INTERDATA_IDLENESS_00CYCLE;
  hspi2.Init.MasterReceiverAutoSusp = SPI_MASTER_RX_AUTOSUSP_DISABLE;
  hspi2.Init.MasterKeepIOState = SPI_MASTER_KEEP_IO_STATE_DISABLE;
  hspi2.Init.IOSwap = SPI_IO_SWAP_DISABLE;
  if (HAL_SPI_Init(&hspi2) != HAL_OK)
  {
    Error_Handler();
  }

}

static void MX_TIM1_Init(void)
{

  TIM_ClockConfigTypeDef sClockSourceConfig = {0};
  TIM_MasterConfigTypeDef sMasterConfig = {0};

  htim1.Instance = TIM1;
  htim1.Init.Prescaler = 9;
  htim1.Init.CounterMode = TIM_COUNTERMODE_UP;
  htim1.Init.Period = 499;
  htim1.Init.ClockDivision = TIM_CLOCKDIVISION_DIV1;
  htim1.Init.RepetitionCounter = 0;
  htim1.Init.AutoReloadPreload = TIM_AUTORELOAD_PRELOAD_DISABLE;
  if (HAL_TIM_Base_Init(&htim1) != HAL_OK)
  {
    Error_Handler();
  }
  sClockSourceConfig.ClockSource = TIM_CLOCKSOURCE_INTERNAL;
  if (HAL_TIM_ConfigClockSource(&htim1, &sClockSourceConfig) != HAL_OK)
  {
    Error_Handler();
  }
  sMasterConfig.MasterOutputTrigger = TIM_TRGO_RESET;
  sMasterConfig.MasterOutputTrigger2 = TIM_TRGO2_RESET;
  sMasterConfig.MasterSlaveMode = TIM_MASTERSLAVEMODE_DISABLE;
  if (HAL_TIMEx_MasterConfigSynchronization(&htim1, &sMasterConfig) != HAL_OK)
  {
    Error_Handler();
  }

}

static void MX_TIM3_Init(void)
{

  TIM_ClockConfigTypeDef sClockSourceConfig = {0};
  TIM_MasterConfigTypeDef sMasterConfig = {0};

  htim3.Instance = TIM3;
  htim3.Init.Prescaler = 44999;
  htim3.Init.CounterMode = TIM_COUNTERMODE_UP;
  htim3.Init.Period = 4999;
  htim3.Init.ClockDivision = TIM_CLOCKDIVISION_DIV1;
  htim3.Init.AutoReloadPreload = TIM_AUTORELOAD_PRELOAD_DISABLE;
  if (HAL_TIM_Base_Init(&htim3) != HAL_OK)
  {
    Error_Handler();
  }
  sClockSourceConfig.ClockSource = TIM_CLOCKSOURCE_INTERNAL;
  if (HAL_TIM_ConfigClockSource(&htim3, &sClockSourceConfig) != HAL_OK)
  {
    Error_Handler();
  }
  sMasterConfig.MasterOutputTrigger = TIM_TRGO_RESET;
  sMasterConfig.MasterSlaveMode = TIM_MASTERSLAVEMODE_DISABLE;
  if (HAL_TIMEx_MasterConfigSynchronization(&htim3, &sMasterConfig) != HAL_OK)
  {
    Error_Handler();
  }

}

static void MX_USART1_UART_Init(void)
{

  huart1.Instance = USART1;
  huart1.Init.BaudRate = 19200;
  huart1.Init.WordLength = UART_WORDLENGTH_8B;
  huart1.Init.StopBits = UART_STOPBITS_1;
  huart1.Init.Parity = UART_PARITY_NONE;
  huart1.Init.Mode = UART_MODE_TX_RX;
  huart1.Init.HwFlowCtl = UART_HWCONTROL_NONE;
  huart1.Init.OverSampling = UART_OVERSAMPLING_16;
  huart1.Init.OneBitSampling = UART_ONE_BIT_SAMPLE_DISABLE;
  huart1.Init.ClockPrescaler = UART_PRESCALER_DIV1;
  huart1.AdvancedInit.AdvFeatureInit = UART_ADVFEATURE_NO_INIT;
  if (HAL_UART_Init(&huart1) != HAL_OK)
  {
    Error_Handler();
  }
  if (HAL_UARTEx_SetTxFifoThreshold(&huart1, UART_TXFIFO_THRESHOLD_1_8) != HAL_OK)
  {
    Error_Handler();
  }
  if (HAL_UARTEx_SetRxFifoThreshold(&huart1, UART_RXFIFO_THRESHOLD_1_8) != HAL_OK)
  {
    Error_Handler();
  }
  if (HAL_UARTEx_DisableFifoMode(&huart1) != HAL_OK)
  {
    Error_Handler();
  }

}

static void MX_USART2_UART_Init(void)
{

  huart2.Instance = USART2;
  huart2.Init.BaudRate = 115200;
  huart2.Init.WordLength = UART_WORDLENGTH_8B;
  huart2.Init.StopBits = UART_STOPBITS_1;
  huart2.Init.Parity = UART_PARITY_NONE;
  huart2.Init.Mode = UART_MODE_TX_RX;
  huart2.Init.HwFlowCtl = UART_HWCONTROL_NONE;
  huart2.Init.OverSampling = UART_OVERSAMPLING_16;
  huart2.Init.OneBitSampling = UART_ONE_BIT_SAMPLE_DISABLE;
  huart2.Init.ClockPrescaler = UART_PRESCALER_DIV1;
  huart2.AdvancedInit.AdvFeatureInit = UART_ADVFEATURE_NO_INIT;
  if (HAL_UART_Init(&huart2) != HAL_OK)
  {
    Error_Handler();
  }
  if (HAL_UARTEx_SetTxFifoThreshold(&huart2, UART_TXFIFO_THRESHOLD_1_8) != HAL_OK)
  {
    Error_Handler();
  }
  if (HAL_UARTEx_SetRxFifoThreshold(&huart2, UART_RXFIFO_THRESHOLD_1_8) != HAL_OK)
  {
    Error_Handler();
  }
  if (HAL_UARTEx_DisableFifoMode(&huart2) != HAL_OK)
  {
    Error_Handler();
  }

}

static void MX_GPIO_Init(void)
{
  GPIO_InitTypeDef GPIO_InitStruct = {0};

  /* GPIO Ports Clock Enable */
  __HAL_RCC_GPIOE_CLK_ENABLE();
  __HAL_RCC_GPIOI_CLK_ENABLE();
  __HAL_RCC_GPIOC_CLK_ENABLE();
  __HAL_RCC_GPIOF_CLK_ENABLE();
  __HAL_RCC_GPIOH_CLK_ENABLE();
  __HAL_RCC_GPIOA_CLK_ENABLE();
  __HAL_RCC_GPIOB_CLK_ENABLE();
  __HAL_RCC_GPIOG_CLK_ENABLE();
  __HAL_RCC_GPIOD_CLK_ENABLE();

  /*Configure GPIO pin Output Level */
  HAL_GPIO_WritePin(GPIOA, Wakeup_Pin|RE485_Pin, GPIO_PIN_RESET);

  /*Configure GPIO pin Output Level */
  HAL_GPIO_WritePin(GPIOB, LED0_Pin|LED1_Pin|DAC_ADDR_Pin|DAC_CLR_Pin
                          |DAC_LDAC_Pin, GPIO_PIN_RESET);

  /*Configure GPIO pin Output Level */
  HAL_GPIO_WritePin(GPIOH, CHIP2_Pin|CHIP1_Pin, GPIO_PIN_RESET);

  /*Configure GPIO pin Output Level */
  HAL_GPIO_WritePin(GPIOG, SPI2_SYNC_Pin|SPI1_SYNC_Pin, GPIO_PIN_RESET);

  /*Configure GPIO pins : PE2 PE3 PE4 PE5
                           PE6 PE7 PE8 PE9
                           PE10 PE11 PE12 PE13
                           PE14 PE15 PE0 PE1 */
  GPIO_InitStruct.Pin = GPIO_PIN_2|GPIO_PIN_3|GPIO_PIN_4|GPIO_PIN_5
                          |GPIO_PIN_6|GPIO_PIN_7|GPIO_PIN_8|GPIO_PIN_9
                          |GPIO_PIN_10|GPIO_PIN_11|GPIO_PIN_12|GPIO_PIN_13
                          |GPIO_PIN_14|GPIO_PIN_15|GPIO_PIN_0|GPIO_PIN_1;
  GPIO_InitStruct.Mode = GPIO_MODE_ANALOG;
  GPIO_InitStruct.Pull = GPIO_NOPULL;
  HAL_GPIO_Init(GPIOE, &GPIO_InitStruct);

  /*Configure GPIO pins : PI8 PI9 PI10 PI11
                           PI0 PI1 PI2 PI3
                           PI4 PI5 PI6 PI7 */
  GPIO_InitStruct.Pin = GPIO_PIN_8|GPIO_PIN_9|GPIO_PIN_10|GPIO_PIN_11
                          |GPIO_PIN_0|GPIO_PIN_1|GPIO_PIN_2|GPIO_PIN_3
                          |GPIO_PIN_4|GPIO_PIN_5|GPIO_PIN_6|GPIO_PIN_7;
  GPIO_InitStruct.Mode = GPIO_MODE_ANALOG;
  GPIO_InitStruct.Pull = GPIO_NOPULL;
  HAL_GPIO_Init(GPIOI, &GPIO_InitStruct);

  /*Configure GPIO pins : PC13 PC0 PC3 PC4
                           PC5 PC6 PC7 PC8
                           PC9 PC10 PC11 PC12 */
  GPIO_InitStruct.Pin = GPIO_PIN_13|GPIO_PIN_0|GPIO_PIN_3|GPIO_PIN_4
                          |GPIO_PIN_5|GPIO_PIN_6|GPIO_PIN_7|GPIO_PIN_8
                          |GPIO_PIN_9|GPIO_PIN_10|GPIO_PIN_11|GPIO_PIN_12;
  GPIO_InitStruct.Mode = GPIO_MODE_ANALOG;
  GPIO_InitStruct.Pull = GPIO_NOPULL;
  HAL_GPIO_Init(GPIOC, &GPIO_InitStruct);

  /*Configure GPIO pins : PF0 PF1 PF2 PF3
                           PF4 PF5 PF6 PF7
                           PF8 PF9 PF10 PF11
                           PF12 PF13 PF14 PF15 */
  GPIO_InitStruct.Pin = GPIO_PIN_0|GPIO_PIN_1|GPIO_PIN_2|GPIO_PIN_3
                          |GPIO_PIN_4|GPIO_PIN_5|GPIO_PIN_6|GPIO_PIN_7
                          |GPIO_PIN_8|GPIO_PIN_9|GPIO_PIN_10|GPIO_PIN_11
                          |GPIO_PIN_12|GPIO_PIN_13|GPIO_PIN_14|GPIO_PIN_15;
  GPIO_InitStruct.Mode = GPIO_MODE_ANALOG;
  GPIO_InitStruct.Pull = GPIO_NOPULL;
  HAL_GPIO_Init(GPIOF, &GPIO_InitStruct);

  /*Configure GPIO pins : Wakeup_Pin RE485_Pin */
  GPIO_InitStruct.Pin = Wakeup_Pin|RE485_Pin;
  GPIO_InitStruct.Mode = GPIO_MODE_OUTPUT_PP;
  GPIO_InitStruct.Pull = GPIO_NOPULL;
  GPIO_InitStruct.Speed = GPIO_SPEED_FREQ_LOW;
  HAL_GPIO_Init(GPIOA, &GPIO_InitStruct);

  /*Configure GPIO pins : PA1 PA2 PA3 PA4
                           PA5 PA11 PA12 */
  GPIO_InitStruct.Pin = GPIO_PIN_1|GPIO_PIN_2|GPIO_PIN_3|GPIO_PIN_4
                          |GPIO_PIN_5|GPIO_PIN_11|GPIO_PIN_12;
  GPIO_InitStruct.Mode = GPIO_MODE_ANALOG;
  GPIO_InitStruct.Pull = GPIO_NOPULL;
  HAL_GPIO_Init(GPIOA, &GPIO_InitStruct);

  /*Configure GPIO pins : PH2 PH3 PH4 PH5
                           PH6 PH7 PH8 PH9
                           PH12 PH13 PH14 PH15 */
  GPIO_InitStruct.Pin = GPIO_PIN_2|GPIO_PIN_3|GPIO_PIN_4|GPIO_PIN_5
                          |GPIO_PIN_6|GPIO_PIN_7|GPIO_PIN_8|GPIO_PIN_9
                          |GPIO_PIN_12|GPIO_PIN_13|GPIO_PIN_14|GPIO_PIN_15;
  GPIO_InitStruct.Mode = GPIO_MODE_ANALOG;
  GPIO_InitStruct.Pull = GPIO_NOPULL;
  HAL_GPIO_Init(GPIOH, &GPIO_InitStruct);

  /*Configure GPIO pins : LED0_Pin LED1_Pin DAC_ADDR_Pin DAC_CLR_Pin
                           DAC_LDAC_Pin */
  GPIO_InitStruct.Pin = LED0_Pin|LED1_Pin|DAC_ADDR_Pin|DAC_CLR_Pin
                          |DAC_LDAC_Pin;
  GPIO_InitStruct.Mode = GPIO_MODE_OUTPUT_PP;
  GPIO_InitStruct.Pull = GPIO_NOPULL;
  GPIO_InitStruct.Speed = GPIO_SPEED_FREQ_LOW;
  HAL_GPIO_Init(GPIOB, &GPIO_InitStruct);

  /*Configure GPIO pins : PB2 PB11 PB13 PB14
                           PB15 PB8 PB9 */
  GPIO_InitStruct.Pin = GPIO_PIN_2|GPIO_PIN_11|GPIO_PIN_13|GPIO_PIN_14
                          |GPIO_PIN_15|GPIO_PIN_8|GPIO_PIN_9;
  GPIO_InitStruct.Mode = GPIO_MODE_ANALOG;
  GPIO_InitStruct.Pull = GPIO_NOPULL;
  HAL_GPIO_Init(GPIOB, &GPIO_InitStruct);

  /*Configure GPIO pins : PG0 PG1 PG2 PG3
                           PG4 PG5 PG6 PG7
                           PG8 PG9 PG10 PG14
                           PG15 */
  GPIO_InitStruct.Pin = GPIO_PIN_0|GPIO_PIN_1|GPIO_PIN_2|GPIO_PIN_3
                          |GPIO_PIN_4|GPIO_PIN_5|GPIO_PIN_6|GPIO_PIN_7
                          |GPIO_PIN_8|GPIO_PIN_9|GPIO_PIN_10|GPIO_PIN_14
                          |GPIO_PIN_15;
  GPIO_InitStruct.Mode = GPIO_MODE_ANALOG;
  GPIO_InitStruct.Pull = GPIO_NOPULL;
  HAL_GPIO_Init(GPIOG, &GPIO_InitStruct);

  /*Configure GPIO pins : CHIP2_Pin CHIP1_Pin */
  GPIO_InitStruct.Pin = CHIP2_Pin|CHIP1_Pin;
  GPIO_InitStruct.Mode = GPIO_MODE_OUTPUT_PP;
  GPIO_InitStruct.Pull = GPIO_NOPULL;
  GPIO_InitStruct.Speed = GPIO_SPEED_FREQ_LOW;
  HAL_GPIO_Init(GPIOH, &GPIO_InitStruct);

  /*Configure GPIO pins : PD8 PD9 PD10 PD11
                           PD12 PD13 PD14 PD15
                           PD0 PD1 PD2 PD3
                           PD4 PD7 */
  GPIO_InitStruct.Pin = GPIO_PIN_8|GPIO_PIN_9|GPIO_PIN_10|GPIO_PIN_11
                          |GPIO_PIN_12|GPIO_PIN_13|GPIO_PIN_14|GPIO_PIN_15
                          |GPIO_PIN_0|GPIO_PIN_1|GPIO_PIN_2|GPIO_PIN_3
                          |GPIO_PIN_4|GPIO_PIN_7;
  GPIO_InitStruct.Mode = GPIO_MODE_ANALOG;
  GPIO_InitStruct.Pull = GPIO_NOPULL;
  HAL_GPIO_Init(GPIOD, &GPIO_InitStruct);

  /*Configure GPIO pins : SPI2_SYNC_Pin SPI1_SYNC_Pin */
  GPIO_InitStruct.Pin = SPI2_SYNC_Pin|SPI1_SYNC_Pin;
  GPIO_InitStruct.Mode = GPIO_MODE_OUTPUT_PP;
  GPIO_InitStruct.Pull = GPIO_NOPULL;
  GPIO_InitStruct.Speed = GPIO_SPEED_FREQ_LOW;
  HAL_GPIO_Init(GPIOG, &GPIO_InitStruct);

  /*AnalogSwitch Config */
  HAL_SYSCFG_AnalogSwitchConfig(SYSCFG_SWITCH_PA0, SYSCFG_SWITCH_PA0_CLOSE);

}

/* USER CODE BEGIN 4 */

void App_ResetAdcFilter(void)
{
  ChipMeasure_ResetSyncFilter(&s_adc_filter);
}

/* USER CODE END 4 */

void Error_Handler(void)
{
  __disable_irq();
  while (1)
  {
  }
}
